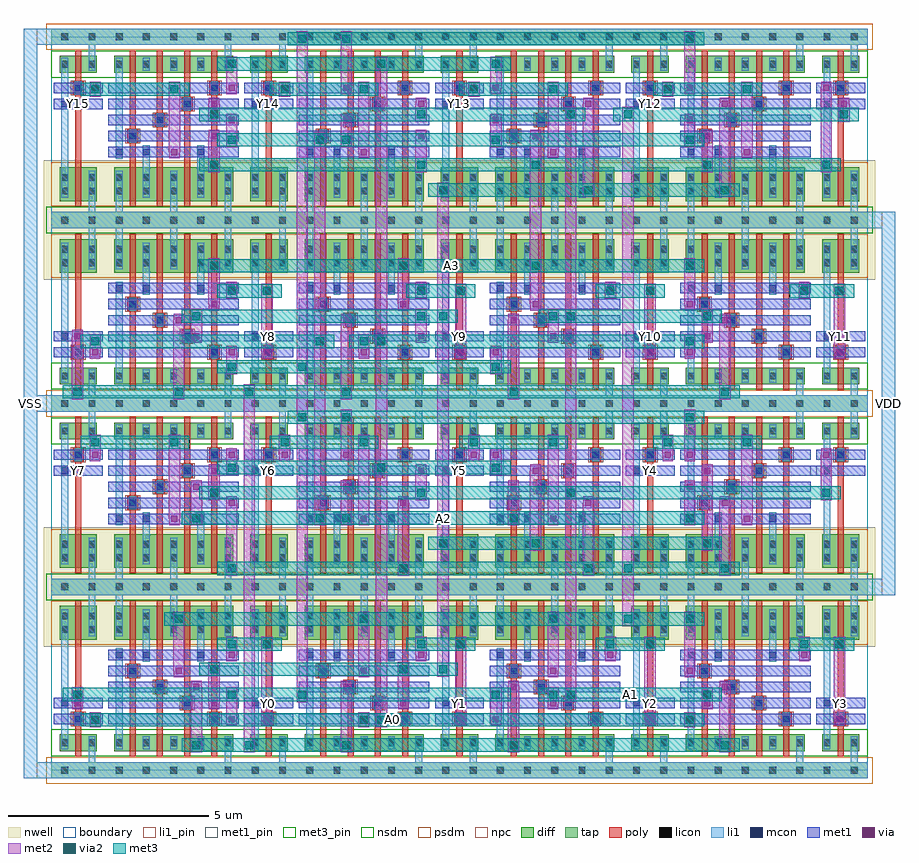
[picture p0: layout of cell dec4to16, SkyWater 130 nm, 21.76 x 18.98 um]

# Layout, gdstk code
import gdstk
lib = gdstk.Library(unit=1e-6, precision=1e-09)
def R(c, l, rs):  # rectangles x0, y0, x1, y1
    for r in rs: c.add(gdstk.rectangle(r[:2], r[2:], *l))
def A(c, l, x, y, w, h, nx, ny, dx, dy):  # array of equal rectangles
    R(c, l, [(x+i*dx, y+j*dy, x+i*dx+w, y+j*dy+h) for i in range(nx) for j in range(ny)])
nwell = (64, 20)
diff = (65, 20)
tap = (65, 44)
poly = (66, 20)
licon = (66, 44)
li1_pin = (67, 16)
li1 = (67, 20)
mcon = (67, 44)
met1_pin = (68, 16)
met1 = (68, 20)
via = (68, 44)
met2 = (69, 20)
via2 = (69, 44)
met3_pin = (70, 16)
met3 = (70, 20)
nsdm = (93, 44)
psdm = (94, 20)
npc = (95, 20)
boundary = (235, 4)

inv = lib.new_cell('inv')
R(inv, nwell, [(-0.18,3.085,1.54,4.965)])
R(inv, diff, [(0.215,0.475,1.145,0.895), (0.215,3.265,1.145,4.105)])
R(inv, tap, [(0,-0.205,1.36,0.205), (0,4.375,1.36,4.785)])
R(inv, poly, [(0.605,0.345,0.755,1.025), (0.605,1.025,0.755,3.135), (0.545,1.115,0.815,1.445), (0.605,3.135,0.755,4.235)])
R(inv, licon, [(0.255,-0.085,0.425,0.085), (0.935,-0.085,1.105,0.085), (0.255,0.6,0.425,0.77), (0.935,0.6,1.105,0.77), (0.595,1.195,0.765,1.365), (0.255,3.43,0.425,3.6), (0.935,3.43,1.105,3.6), (0.255,3.77,0.425,3.94), (0.935,3.77,1.105,3.94), (0.255,4.495,0.425,4.665), (0.935,4.495,1.105,4.665)])
R(inv, li1_pin, [(0,-0.205,1.36,0.205), (0,4.375,1.36,4.785)])
R(inv, li1, [(0,-0.205,1.36,0.205), (0.935,0,1.105,0.52), (0.255,0.52,0.425,0.85), (0.935,0.52,1.105,0.85), (0.255,0.85,0.425,1.68), (0.595,1.115,0.765,1.445), (0.255,1.515,0.425,1.845), (0.255,1.515,0.425,1.845), (0.255,1.68,0.425,3.35), (0.255,3.35,0.425,4.02), (0.935,3.35,1.105,4.02), (0.935,4.02,1.105,4.58), (0,4.375,1.36,4.785)])
R(inv, mcon, [(0.595,1.195,0.765,1.365), (0.255,1.595,0.425,1.765), (0.255,1.595,0.425,1.765)])
R(inv, met1_pin, [(0.07,1.15,1.29,1.41), (0.07,1.55,1.29,1.81)])
R(inv, met1, [(0.07,1.15,1.29,1.41), (0.495,1.165,0.865,1.395), (0.07,1.55,1.29,1.81), (0.155,1.565,0.525,1.795), (0.155,1.565,0.525,1.795)])
R(inv, nsdm, [(0,0.35,1.36,1.02), (-0.125,4.25,1.485,4.91)])
R(inv, psdm, [(-0.125,-0.33,1.485,0.33), (0,3.14,1.36,4.23)])
R(inv, npc, [(0.495,1.095,0.865,1.465)])
R(inv, boundary, [(0,0,1.36,4.58)])
inv.add(gdstk.Label('VSS', (0.68,0), layer=67, texttype=16))
inv.add(gdstk.Label('VDD', (0.68,4.58), layer=67, texttype=16))
inv.add(gdstk.Label('VSS', (0.68,0), layer=67, texttype=5))
inv.add(gdstk.Label('VDD', (0.68,4.58), layer=67, texttype=5))
inv.add(gdstk.Label('Y', (0.68,1.68), layer=68, texttype=16))
inv.add(gdstk.Label('A', (0.68,1.28), layer=68, texttype=16))
inv.add(gdstk.Label('Y', (0.68,1.68), layer=68, texttype=5))
inv.add(gdstk.Label('A', (0.68,1.28), layer=68, texttype=5))

nand4 = lib.new_cell('nand4')
R(nand4, nwell, [(-0.18,3.085,3.58,4.965)])
R(nand4, diff, [(0.215,0.475,3.185,0.895), (0.215,3.265,3.185,4.105)])
R(nand4, tap, [(0,-0.205,3.4,0.205), (0,4.375,3.4,4.785)])
A(nand4, poly, 0.605, 0.345, 0.15, 0.68, 4, 1, 0.68, 0)
A(nand4, poly, 0.605, 1.025, 0.15, 2.11, 4, 1, 0.68, 0)
A(nand4, poly, 0.605, 3.135, 0.15, 1.1, 4, 1, 0.68, 0)
R(nand4, poly, [(2.585,1.115,2.855,1.445), (1.905,1.515,2.175,1.845), (1.225,1.915,1.495,2.245), (0.545,2.315,0.815,2.645)])
A(nand4, licon, 0.255, -0.085, 0.17, 0.17, 5, 2, 0.68, 0.685)
A(nand4, licon, 0.255, 3.43, 0.17, 0.17, 5, 2, 0.68, 0.34)
A(nand4, licon, 0.255, 4.495, 0.17, 0.17, 5, 1, 0.68, 0)
R(nand4, licon, [(2.635,1.195,2.805,1.365), (1.955,1.595,2.125,1.765), (1.275,1.995,1.445,2.165), (0.595,2.395,0.765,2.565)])
R(nand4, li1_pin, [(0,-0.205,3.4,0.205), (0,4.375,3.4,4.785)])
A(nand4, li1, 0.255, 0.52, 0.17, 0.33, 5, 1, 0.68, 0)
A(nand4, li1, 0.255, 3.35, 0.17, 0.67, 5, 1, 0.68, 0)
A(nand4, li1, 0.255, 4.02, 0.17, 0.56, 3, 1, 1.36, 0)
R(nand4, li1, [(0,-0.205,3.4,0.205), (2.975,0,3.145,0.52), (0.255,0.85,0.425,2.88), (2.635,1.115,2.805,1.445), (1.955,1.515,2.125,1.845), (1.275,1.915,1.445,2.245), (0.595,2.315,0.765,2.645), (0.255,2.715,0.425,3.045), (0.935,2.715,1.105,3.045), (2.295,2.715,2.465,3.045), (0.935,2.88,1.105,3.35), (2.295,2.88,2.465,3.35), (0,4.375,3.4,4.785)])
R(nand4, mcon, [(2.635,1.195,2.805,1.365), (1.955,1.595,2.125,1.765), (1.275,1.995,1.445,2.165), (0.595,2.395,0.765,2.565), (0.255,2.795,0.425,2.965), (0.935,2.795,1.105,2.965), (2.295,2.795,2.465,2.965)])
A(nand4, met1_pin, 0.07, 1.15, 3.26, 0.26, 1, 5, 0, 0.4)
A(nand4, met1, 0.07, 1.15, 3.26, 0.26, 1, 5, 0, 0.4)
R(nand4, met1, [(2.535,1.165,2.905,1.395), (1.855,1.565,2.225,1.795), (1.175,1.965,1.545,2.195), (0.495,2.365,0.865,2.595), (0.155,2.765,0.525,2.995), (0.835,2.765,1.205,2.995), (2.195,2.765,2.565,2.995)])
R(nand4, nsdm, [(0,0.35,3.4,1.02), (-0.125,4.25,3.525,4.91)])
R(nand4, psdm, [(-0.125,-0.33,3.525,0.33), (0,3.14,3.4,4.23)])
R(nand4, npc, [(2.535,1.095,2.905,1.465), (1.855,1.495,2.225,1.865), (1.175,1.895,1.545,2.265), (0.495,2.295,0.865,2.665)])
R(nand4, boundary, [(0,0,3.4,4.58)])
nand4.add(gdstk.Label('VSS', (1.7,0), layer=67, texttype=16))
nand4.add(gdstk.Label('VDD', (1.7,4.58), layer=67, texttype=16))
nand4.add(gdstk.Label('VSS', (1.7,0), layer=67, texttype=5))
nand4.add(gdstk.Label('VDD', (1.7,4.58), layer=67, texttype=5))
nand4.add(gdstk.Label('Y', (1.7,2.88), layer=68, texttype=16))
nand4.add(gdstk.Label('D', (1.7,2.48), layer=68, texttype=16))
nand4.add(gdstk.Label('C', (1.7,2.08), layer=68, texttype=16))
nand4.add(gdstk.Label('B', (1.7,1.68), layer=68, texttype=16))
nand4.add(gdstk.Label('A', (1.7,1.28), layer=68, texttype=16))
nand4.add(gdstk.Label('Y', (1.7,2.88), layer=68, texttype=5))
nand4.add(gdstk.Label('D', (1.7,2.48), layer=68, texttype=5))
nand4.add(gdstk.Label('C', (1.7,2.08), layer=68, texttype=5))
nand4.add(gdstk.Label('B', (1.7,1.68), layer=68, texttype=5))
nand4.add(gdstk.Label('A', (1.7,1.28), layer=68, texttype=5))

dec4to16 = lib.new_cell('dec4to16')
R(dec4to16, li1_pin, [(-0.68,-0.205,-0.34,18.525), (20.74,4.375,21.08,13.945)])
A(dec4to16, li1, -0.68, -0.205, 0.68, 0.41, 1, 3, 0, 9.16)
R(dec4to16, li1, [(-0.68,-0.205,-0.34,18.525), (20.4,4.375,21.08,4.785), (20.74,4.375,21.08,13.945), (20.4,13.535,21.08,13.945)])
A(dec4to16, met1_pin, 4.83, 1.55, 1.22, 0.26, 4, 2, 4.76, 9.16)
A(dec4to16, met1_pin, 0.07, 7.35, 1.22, 0.26, 4, 2, 4.76, 9.16)
A(dec4to16, met1, 5.23, 1.15, 0.32, 0.26, 3, 2, 2.42, 9.16)
A(dec4to16, met1, 4.35, 2.75, 0.32, 0.26, 3, 2, 4.73, 9.16)
A(dec4to16, met1, 2.92, 6.15, 0.32, 0.26, 3, 2, 4.73, 9.16)
A(dec4to16, met1, 3.03, 11.11, 0.32, 0.26, 3, 1, 4.18, 0)
R(dec4to16, met1, [(0.94,1.15,1.26,1.41), (4.35,1.15,4.67,1.41), (10.95,1.15,11.27,1.41), (14.8,1.15,15.12,1.41), (15.79,1.15,16.11,1.41), (19.53,1.15,19.85,1.41), (0.5,1.55,0.82,1.81), (3.91,1.55,4.23,1.81), (8.64,1.55,8.96,1.81), (12.38,1.55,12.7,1.81), (16.23,1.55,16.55,1.81), (3.47,1.95,3.79,2.21), (7.21,1.95,7.53,2.21), (11.39,1.95,11.71,2.21), (16.67,1.95,16.99,2.21), (3.03,2.35,3.35,2.61), (7.65,2.35,7.97,2.61), (12.38,2.35,12.7,2.61), (15.79,2.35,16.11,2.61), (18.65,2.75,18.97,3.01), (17.22,6.15,17.54,6.41), (4.35,6.55,4.67,6.81), (8.64,6.55,8.96,6.81), (13.26,6.55,13.58,6.81), (16.67,6.55,16.99,6.81), (3.47,6.95,3.79,7.21), (7.21,6.95,7.53,7.21), (11.39,6.95,11.71,7.21), (15.79,6.95,16.11,7.21), (3.91,7.35,4.23,7.61), (9.08,7.35,9.4,7.61), (11.94,7.35,12.26,7.61), (16.23,7.35,16.55,7.61), (18.97,7.35,19.11,7.61), (0.94,7.75,1.26,8.01), (4.35,7.75,4.67,8.01), (5.67,7.75,5.99,8.01), (7.21,7.75,7.53,8.01), (10.4,7.75,10.72,8.01), (10.95,7.75,11.27,8.01), (15.24,7.75,15.56,8.01), (15.79,7.75,16.11,8.01), (19.2,7.75,19.52,8.01), (0.94,10.31,1.26,10.57), (4.35,10.31,4.67,10.57), (10.95,10.31,11.27,10.57), (14.8,10.31,15.12,10.57), (15.79,10.31,16.11,10.57), (19.53,10.31,19.85,10.57), (0.5,10.71,0.82,10.97), (3.47,10.71,3.79,10.97), (9.08,10.71,9.4,10.97), (12.38,10.71,12.7,10.97), (16.23,10.71,16.55,10.97), (16.67,11.11,16.99,11.37), (3.91,11.51,4.23,11.77), (8.64,11.51,8.96,11.77), (11.94,11.51,12.26,11.77), (15.79,11.51,16.11,11.77), (18.65,11.91,18.97,12.17), (17.22,15.31,17.54,15.57), (3.91,15.71,4.23,15.97), (9.08,15.71,9.4,15.97), (11.94,15.71,12.26,15.97), (16.23,15.71,16.55,15.97), (4.35,16.11,4.67,16.37), (7.21,16.11,7.53,16.37), (10.95,16.11,11.27,16.37), (15.79,16.11,16.11,16.37), (3.91,16.51,4.23,16.77), (9.08,16.51,9.4,16.77), (13.26,16.51,13.58,16.77), (16.67,16.51,16.99,16.77), (19.64,16.51,19.96,16.77), (0.94,16.91,1.26,17.17), (4.35,16.91,4.67,17.17), (5.67,16.91,5.99,17.17), (7.21,16.91,7.53,17.17), (10.4,16.91,10.72,17.17), (10.95,16.91,11.27,17.17), (15.24,16.91,15.56,17.17), (15.79,16.91,16.11,17.17), (19.2,16.91,19.52,17.17)])
A(dec4to16, via, 5.315, 1.205, 0.15, 0.15, 3, 2, 2.42, 9.16)
A(dec4to16, via, 4.435, 2.805, 0.15, 0.15, 3, 2, 4.73, 9.16)
A(dec4to16, via, 3.005, 6.205, 0.15, 0.15, 3, 2, 4.73, 9.16)
A(dec4to16, via, 3.115, 11.165, 0.15, 0.15, 3, 1, 4.18, 0)
R(dec4to16, via, [(1.025,1.205,1.175,1.355), (4.435,1.205,4.585,1.355), (11.035,1.205,11.185,1.355), (14.885,1.205,15.035,1.355), (15.875,1.205,16.025,1.355), (19.615,1.205,19.765,1.355), (0.585,1.605,0.735,1.755), (3.995,1.605,4.145,1.755), (8.725,1.605,8.875,1.755), (12.465,1.605,12.615,1.755), (16.315,1.605,16.465,1.755), (3.555,2.005,3.705,2.155), (7.295,2.005,7.445,2.155), (11.475,2.005,11.625,2.155), (16.755,2.005,16.905,2.155), (3.115,2.405,3.265,2.555), (7.735,2.405,7.885,2.555), (12.465,2.405,12.615,2.555), (15.875,2.405,16.025,2.555), (18.735,2.805,18.885,2.955), (17.305,6.205,17.455,6.355), (4.435,6.605,4.585,6.755), (8.725,6.605,8.875,6.755), (13.345,6.605,13.495,6.755), (16.755,6.605,16.905,6.755), (3.555,7.005,3.705,7.155), (7.295,7.005,7.445,7.155), (11.475,7.005,11.625,7.155), (15.875,7.005,16.025,7.155), (3.995,7.405,4.145,7.555), (9.165,7.405,9.315,7.555), (12.025,7.405,12.175,7.555), (16.315,7.405,16.465,7.555), (1.025,7.805,1.175,7.955), (4.435,7.805,4.585,7.955), (5.755,7.805,5.905,7.955), (7.295,7.805,7.445,7.955), (10.485,7.805,10.635,7.955), (11.035,7.805,11.185,7.955), (15.325,7.805,15.475,7.955), (15.875,7.805,16.025,7.955), (19.285,7.805,19.435,7.955), (1.025,10.365,1.175,10.515), (4.435,10.365,4.585,10.515), (11.035,10.365,11.185,10.515), (14.885,10.365,15.035,10.515), (15.875,10.365,16.025,10.515), (19.615,10.365,19.765,10.515), (0.585,10.765,0.735,10.915), (3.555,10.765,3.705,10.915), (9.165,10.765,9.315,10.915), (12.465,10.765,12.615,10.915), (16.315,10.765,16.465,10.915), (16.755,11.165,16.905,11.315), (3.995,11.565,4.145,11.715), (8.725,11.565,8.875,11.715), (12.025,11.565,12.175,11.715), (15.875,11.565,16.025,11.715), (18.735,11.965,18.885,12.115), (17.305,15.365,17.455,15.515), (3.995,15.765,4.145,15.915), (9.165,15.765,9.315,15.915), (12.025,15.765,12.175,15.915), (16.315,15.765,16.465,15.915), (4.435,16.165,4.585,16.315), (7.295,16.165,7.445,16.315), (11.035,16.165,11.185,16.315), (15.875,16.165,16.025,16.315), (3.995,16.565,4.145,16.715), (9.165,16.565,9.315,16.715), (13.345,16.565,13.495,16.715), (16.755,16.565,16.905,16.715), (19.725,16.565,19.875,16.715), (1.025,16.965,1.175,17.115), (4.435,16.965,4.585,17.115), (5.755,16.965,5.905,17.115), (7.295,16.965,7.445,17.115), (10.485,16.965,10.635,17.115), (11.035,16.965,11.185,17.115), (15.325,16.965,15.475,17.115), (15.875,16.965,16.025,17.115), (19.285,16.965,19.435,17.115)])
A(dec4to16, met2, 16.69, 0.445, 0.28, 0.37, 1, 3, 0, 4.41)
A(dec4to16, met2, 15.81, 1.075, 0.28, 0.37, 1, 4, 0, 2.52)
A(dec4to16, met2, 5.26, 1.12, 0.26, 0.32, 3, 2, 2.42, 9.16)
A(dec4to16, met2, 10.09, 1.28, 0.28, 1.87, 3, 1, 4.73, 0)
A(dec4to16, met2, 4.38, 2.72, 0.26, 0.32, 3, 2, 4.73, 9.16)
A(dec4to16, met2, 4.37, 2.88, 0.28, 0.27, 3, 1, 4.73, 0)
A(dec4to16, met2, 4.37, 4.855, 0.28, 0.37, 1, 3, 0, 2.52)
A(dec4to16, met2, 2.95, 6.12, 0.26, 0.32, 3, 2, 4.73, 9.16)
A(dec4to16, met2, 2.94, 6.28, 0.28, 1.91, 3, 1, 4.73, 0)
A(dec4to16, met2, 0.96, 7.88, 0.28, 0.31, 3, 1, 4.73, 0)
A(dec4to16, met2, 3.05, 9.45, 0.28, 1.79, 3, 1, 4.18, 0)
A(dec4to16, met2, 10.09, 10.44, 0.28, 1.53, 3, 1, 4.73, 0)
A(dec4to16, met2, 3.06, 11.08, 0.26, 0.32, 3, 1, 4.18, 0)
A(dec4to16, met2, 4.37, 11.97, 0.28, 0.07, 3, 1, 4.73, 0)
A(dec4to16, met2, 2.94, 15.44, 0.28, 1.57, 3, 1, 4.73, 0)
A(dec4to16, met2, 0.96, 17.01, 0.28, 0.03, 3, 1, 4.73, 0)
R(dec4to16, met2, [(3.49,0.445,3.77,0.815), (4.81,0.445,5.09,0.815), (7.23,0.445,7.51,0.815), (11.41,0.445,11.69,0.815), (3.49,0.63,3.77,2.08), (4.81,0.63,5.09,9.45), (7.23,0.63,7.51,2.08), (11.41,0.63,11.69,2.08), (16.69,0.63,16.97,2.08), (0.96,1.075,1.24,1.445), (7.67,1.075,7.95,1.445), (8.11,1.075,8.39,1.445), (0.97,1.12,1.23,1.44), (4.38,1.12,4.64,1.44), (10.98,1.12,11.24,1.44), (14.83,1.12,15.09,1.44), (15.82,1.12,16.08,1.44), (19.56,1.12,19.82,1.44), (0.96,1.26,1.24,1.28), (7.67,1.26,7.95,1.28), (8.11,1.26,8.39,17.64), (15.81,1.26,16.09,1.28), (4.37,1.28,4.65,1.89), (5.25,1.28,5.53,3.15), (10.97,1.28,11.25,1.89), (0.53,1.52,0.79,1.84), (3.94,1.52,4.2,1.84), (8.67,1.52,8.93,1.84), (12.41,1.52,12.67,1.84), (16.26,1.52,16.52,1.84), (0.52,1.68,0.8,1.89), (3.93,1.68,4.21,2.52), (8.66,1.68,8.94,2.52), (12.4,1.68,12.68,1.89), (16.25,1.68,16.53,1.89), (0.52,1.705,0.8,2.075), (4.37,1.705,4.65,2.075), (6.13,1.705,6.41,2.075), (10.97,1.705,11.25,2.075), (12.4,1.705,12.68,2.075), (12.84,1.705,13.12,2.075), (16.25,1.705,16.53,2.075), (6.13,1.89,6.41,18.27), (12.84,1.89,13.12,16.38), (3.5,1.92,3.76,2.24), (7.24,1.92,7.5,2.24), (11.42,1.92,11.68,2.24), (16.7,1.92,16.96,2.24), (3.06,2.32,3.32,2.64), (7.68,2.32,7.94,2.64), (12.41,2.32,12.67,2.64), (15.82,2.32,16.08,2.64), (3.93,2.335,4.21,2.705), (8.66,2.335,8.94,2.705), (9.65,2.335,9.93,2.705), (3.05,2.48,3.33,3.78), (7.67,2.48,7.95,3.78), (12.4,2.48,12.68,3.78), (15.81,2.48,16.09,3.78), (9.65,2.52,9.93,14.49), (18.68,2.72,18.94,3.04), (18.67,2.88,18.95,3.15), (4.37,2.965,4.65,3.335), (5.25,2.965,5.53,3.335), (9.1,2.965,9.38,3.335), (10.09,2.965,10.37,3.335), (13.83,2.965,14.11,3.335), (14.82,2.965,15.1,3.335), (18.67,2.965,18.95,3.335), (19.55,2.965,19.83,3.335), (3.05,3.595,3.33,3.965), (7.67,3.595,7.95,3.965), (12.4,3.595,12.68,3.965), (14.27,3.595,14.55,3.965), (14.27,3.78,14.55,16.38), (8.66,4.855,8.94,5.225), (13.28,4.855,13.56,5.225), (14.27,4.855,14.55,5.225), (4.37,5.04,4.65,6.68), (8.66,5.04,8.94,6.68), (13.28,5.04,13.56,6.68), (16.69,5.04,16.97,6.68), (9.65,5.485,9.93,5.855), (11.96,5.485,12.24,5.855), (16.25,5.485,16.53,5.855), (11.96,5.67,12.24,7.48), (16.25,5.67,16.53,7.48), (3.49,6.115,3.77,6.485), (6.57,6.115,6.85,6.485), (7.23,6.115,7.51,6.485), (11.41,6.115,11.69,6.485), (17.25,6.12,17.51,6.44), (17.24,6.28,17.52,8.19), (3.49,6.3,3.77,7.08), (6.57,6.3,6.85,15.75), (7.23,6.3,7.51,7.08), (11.41,6.3,11.69,7.08), (15.81,6.3,16.09,7.08), (4.38,6.52,4.64,6.84), (8.67,6.52,8.93,6.84), (13.29,6.52,13.55,6.84), (16.7,6.52,16.96,6.84), (3.93,6.745,4.21,7.115), (9.1,6.745,9.38,7.115), (12.84,6.745,13.12,7.115), (19.22,6.745,19.5,7.115), (3.5,6.92,3.76,7.24), (7.24,6.92,7.5,7.24), (11.42,6.92,11.68,7.24), (15.82,6.92,16.08,7.24), (3.93,6.93,4.21,7.48), (9.1,6.93,9.38,7.48), (19.22,6.93,19.5,7.88), (3.94,7.32,4.2,7.64), (9.11,7.32,9.37,7.64), (11.97,7.32,12.23,7.64), (16.26,7.32,16.52,7.64), (8.11,7.375,8.39,7.745), (10.97,7.375,11.25,7.745), (4.37,7.56,4.65,7.88), (10.97,7.56,11.25,7.88), (0.97,7.72,1.23,8.04), (4.38,7.72,4.64,8.04), (5.7,7.72,5.96,8.04), (7.24,7.72,7.5,8.04), (10.43,7.72,10.69,8.04), (10.98,7.72,11.24,8.04), (15.27,7.72,15.53,8.04), (15.82,7.72,16.08,8.04), (19.23,7.72,19.49,8.04), (7.23,7.88,7.51,8.82), (15.26,7.88,15.54,8.19), (15.81,7.88,16.09,8.82), (0.96,8.005,1.24,8.375), (2.94,8.005,3.22,8.375), (5.69,8.005,5.97,8.375), (7.67,8.005,7.95,8.375), (10.42,8.005,10.7,8.375), (12.4,8.005,12.68,8.375), (15.26,8.005,15.54,8.375), (17.24,8.005,17.52,8.375), (6.13,8.635,6.41,9.005), (7.23,8.635,7.51,9.005), (0.52,9.265,0.8,9.635), (3.05,9.265,3.33,9.635), (4.81,9.265,5.09,9.635), (7.23,9.265,7.51,9.635), (11.41,9.265,11.69,9.635), (0.52,9.45,0.8,10.84), (16.69,9.45,16.97,11.24), (6.13,9.895,6.41,10.265), (10.97,9.895,11.25,10.265), (4.37,10.08,4.65,10.44), (10.97,10.08,11.25,10.44), (0.97,10.28,1.23,10.6), (4.38,10.28,4.64,10.6), (10.98,10.28,11.24,10.6), (14.83,10.28,15.09,10.6), (15.82,10.28,16.08,10.6), (19.56,10.28,19.82,10.6), (0.96,10.44,1.24,10.71), (5.25,10.44,5.53,11.97), (7.67,10.44,7.95,10.71), (15.81,10.44,16.09,10.71), (0.96,10.525,1.24,10.895), (6.57,10.525,6.85,10.895), (7.67,10.525,7.95,10.895), (8.11,10.525,8.39,10.895), (15.81,10.525,16.09,10.895), (0.53,10.68,0.79,11), (3.5,10.68,3.76,11), (9.11,10.68,9.37,11), (12.41,10.68,12.67,11), (16.26,10.68,16.52,11), (3.49,10.84,3.77,11.34), (9.1,10.84,9.38,11.34), (12.4,10.84,12.68,11.34), (16.25,10.84,16.53,11.34), (16.7,11.08,16.96,11.4), (3.49,11.155,3.77,11.525), (9.1,11.155,9.38,11.525), (9.65,11.155,9.93,11.525), (12.4,11.155,12.68,11.525), (12.84,11.155,13.12,11.525), (16.25,11.155,16.53,11.525), (3.94,11.48,4.2,11.8), (8.67,11.48,8.93,11.8), (11.97,11.48,12.23,11.8), (15.82,11.48,16.08,11.8), (3.93,11.64,4.21,12.6), (8.66,11.64,8.94,12.6), (11.96,11.64,12.24,12.6), (15.81,11.64,16.09,12.6), (4.37,11.785,4.65,12.155), (5.25,11.785,5.53,12.155), (9.1,11.785,9.38,12.155), (10.09,11.785,10.37,12.155), (13.83,11.785,14.11,12.155), (14.82,11.785,15.1,12.155), (18.67,11.785,18.95,12.155), (19.55,11.785,19.83,12.155), (18.68,11.88,18.94,12.2), (18.67,11.97,18.95,12.04), (3.93,12.415,4.21,12.785), (8.66,12.415,8.94,12.785), (11.96,12.415,12.24,12.785), (11.96,12.415,12.24,12.785), (15.81,12.415,16.09,12.785), (11.96,12.6,12.24,15.12), (9.65,14.305,9.93,14.675), (13.28,14.305,13.56,14.675), (16.69,14.305,16.97,14.675), (13.28,14.49,13.56,16.64), (16.69,14.49,16.97,16.64), (3.93,14.935,4.21,15.305), (9.1,14.935,9.38,15.305), (11.96,14.935,12.24,15.305), (11.96,14.935,12.24,15.305), (16.25,14.935,16.53,15.305), (19.22,14.935,19.5,15.305), (3.93,15.12,4.21,15.84), (9.1,15.12,9.38,15.84), (11.96,15.12,12.24,15.84), (16.25,15.12,16.53,15.84), (19.22,15.12,19.5,17.04), (17.25,15.28,17.51,15.6), (17.24,15.44,17.52,17.01), (4.37,15.565,4.65,15.935), (6.57,15.565,6.85,15.935), (7.23,15.565,7.51,15.935), (10.97,15.565,11.25,15.935), (15.81,15.565,16.09,15.935), (3.94,15.68,4.2,16), (9.11,15.68,9.37,16), (11.97,15.68,12.23,16), (16.26,15.68,16.52,16), (4.37,15.75,4.65,16.24), (7.23,15.75,7.51,16.24), (10.97,15.75,11.25,16.24), (15.81,15.75,16.09,16.24), (4.38,16.08,4.64,16.4), (7.24,16.08,7.5,16.4), (10.98,16.08,11.24,16.4), (15.82,16.08,16.08,16.4), (3.93,16.195,4.21,16.565), (9.1,16.195,9.38,16.565), (12.84,16.195,13.12,16.565), (14.27,16.195,14.55,16.565), (19.66,16.195,19.94,16.565), (3.93,16.38,4.21,16.64), (9.1,16.38,9.38,16.64), (19.66,16.38,19.94,16.64), (3.94,16.48,4.2,16.8), (9.11,16.48,9.37,16.8), (13.29,16.48,13.55,16.8), (16.7,16.48,16.96,16.8), (19.67,16.48,19.93,16.8), (0.96,16.825,1.24,17.195), (2.94,16.825,3.22,17.195), (5.69,16.825,5.97,17.195), (7.67,16.825,7.95,17.195), (10.42,16.825,10.7,17.195), (12.4,16.825,12.68,17.195), (15.26,16.825,15.54,17.195), (17.24,16.825,17.52,17.195), (0.97,16.88,1.23,17.2), (4.38,16.88,4.64,17.2), (5.7,16.88,5.96,17.2), (7.24,16.88,7.5,17.2), (10.43,16.88,10.69,17.2), (10.98,16.88,11.24,17.2), (15.27,16.88,15.53,17.2), (15.82,16.88,16.08,17.2), (19.23,16.88,19.49,17.2), (15.26,17.01,15.54,17.04), (4.37,17.04,4.65,17.64), (7.23,17.04,7.51,18.27), (10.97,17.04,11.25,17.64), (15.81,17.04,16.09,18.27), (4.37,17.455,4.65,17.825), (8.11,17.455,8.39,17.825), (10.97,17.455,11.25,17.825), (6.13,18.085,6.41,18.455), (7.23,18.085,7.51,18.455), (15.81,18.085,16.09,18.455)])
A(dec4to16, via2, 16.73, 0.53, 0.2, 0.2, 1, 3, 0, 4.41)
A(dec4to16, via2, 15.85, 1.16, 0.2, 0.2, 1, 4, 0, 2.52)
A(dec4to16, via2, 4.41, 4.94, 0.2, 0.2, 1, 3, 0, 2.52)
R(dec4to16, via2, [(3.53,0.53,3.73,0.73), (4.85,0.53,5.05,0.73), (7.27,0.53,7.47,0.73), (11.45,0.53,11.65,0.73), (1,1.16,1.2,1.36), (7.71,1.16,7.91,1.36), (8.15,1.16,8.35,1.36), (0.56,1.79,0.76,1.99), (4.41,1.79,4.61,1.99), (6.17,1.79,6.37,1.99), (11.01,1.79,11.21,1.99), (12.44,1.79,12.64,1.99), (12.88,1.79,13.08,1.99), (16.29,1.79,16.49,1.99), (3.97,2.42,4.17,2.62), (8.7,2.42,8.9,2.62), (9.69,2.42,9.89,2.62), (4.41,3.05,4.61,3.25), (5.29,3.05,5.49,3.25), (9.14,3.05,9.34,3.25), (10.13,3.05,10.33,3.25), (13.87,3.05,14.07,3.25), (14.86,3.05,15.06,3.25), (18.71,3.05,18.91,3.25), (19.59,3.05,19.79,3.25), (3.09,3.68,3.29,3.88), (7.71,3.68,7.91,3.88), (12.44,3.68,12.64,3.88), (14.31,3.68,14.51,3.88), (8.7,4.94,8.9,5.14), (13.32,4.94,13.52,5.14), (14.31,4.94,14.51,5.14), (9.69,5.57,9.89,5.77), (12,5.57,12.2,5.77), (16.29,5.57,16.49,5.77), (3.53,6.2,3.73,6.4), (6.61,6.2,6.81,6.4), (7.27,6.2,7.47,6.4), (11.45,6.2,11.65,6.4), (3.97,6.83,4.17,7.03), (9.14,6.83,9.34,7.03), (12.88,6.83,13.08,7.03), (19.26,6.83,19.46,7.03), (8.15,7.46,8.35,7.66), (11.01,7.46,11.21,7.66), (1,8.09,1.2,8.29), (2.98,8.09,3.18,8.29), (5.73,8.09,5.93,8.29), (7.71,8.09,7.91,8.29), (10.46,8.09,10.66,8.29), (12.44,8.09,12.64,8.29), (15.3,8.09,15.5,8.29), (17.28,8.09,17.48,8.29), (6.17,8.72,6.37,8.92), (7.27,8.72,7.47,8.92), (0.56,9.35,0.76,9.55), (3.09,9.35,3.29,9.55), (4.85,9.35,5.05,9.55), (7.27,9.35,7.47,9.55), (11.45,9.35,11.65,9.55), (6.17,9.98,6.37,10.18), (11.01,9.98,11.21,10.18), (1,10.61,1.2,10.81), (6.61,10.61,6.81,10.81), (7.71,10.61,7.91,10.81), (8.15,10.61,8.35,10.81), (15.85,10.61,16.05,10.81), (3.53,11.24,3.73,11.44), (9.14,11.24,9.34,11.44), (9.69,11.24,9.89,11.44), (12.44,11.24,12.64,11.44), (12.88,11.24,13.08,11.44), (16.29,11.24,16.49,11.44), (4.41,11.87,4.61,12.07), (5.29,11.87,5.49,12.07), (9.14,11.87,9.34,12.07), (10.13,11.87,10.33,12.07), (13.87,11.87,14.07,12.07), (14.86,11.87,15.06,12.07), (18.71,11.87,18.91,12.07), (19.59,11.87,19.79,12.07), (3.97,12.5,4.17,12.7), (8.7,12.5,8.9,12.7), (12,12.5,12.2,12.7), (12,12.5,12.2,12.7), (15.85,12.5,16.05,12.7), (9.69,14.39,9.89,14.59), (13.32,14.39,13.52,14.59), (16.73,14.39,16.93,14.59), (3.97,15.02,4.17,15.22), (9.14,15.02,9.34,15.22), (12,15.02,12.2,15.22), (12,15.02,12.2,15.22), (16.29,15.02,16.49,15.22), (19.26,15.02,19.46,15.22), (4.41,15.65,4.61,15.85), (6.61,15.65,6.81,15.85), (7.27,15.65,7.47,15.85), (11.01,15.65,11.21,15.85), (15.85,15.65,16.05,15.85), (3.97,16.28,4.17,16.48), (9.14,16.28,9.34,16.48), (12.88,16.28,13.08,16.48), (14.31,16.28,14.51,16.48), (19.7,16.28,19.9,16.48), (1,16.91,1.2,17.11), (2.98,16.91,3.18,17.11), (5.73,16.91,5.93,17.11), (7.71,16.91,7.91,17.11), (10.46,16.91,10.66,17.11), (12.44,16.91,12.64,17.11), (15.3,16.91,15.5,17.11), (17.28,16.91,17.48,17.11), (4.41,17.54,4.61,17.74), (8.15,17.54,8.35,17.74), (11.01,17.54,11.21,17.74), (6.17,18.17,6.37,18.37), (7.27,18.17,7.47,18.37), (15.85,18.17,16.05,18.37)])
R(dec4to16, met3_pin, [(1.1,1.095,15.95,1.425), (12.54,1.725,16.39,2.055), (3.63,6.135,15.95,6.465), (4.07,12.435,15.95,12.765)])
A(dec4to16, met3, 16.465, 0.465, 0.73, 0.33, 1, 3, 0, 4.41)
A(dec4to16, met3, 15.585, 1.095, 0.73, 0.33, 1, 4, 0, 2.52)
A(dec4to16, met3, 4.145, 4.875, 0.73, 0.33, 1, 3, 0, 2.52)
A(dec4to16, met3, 1.1, 8.025, 1.98, 0.33, 3, 2, 4.73, 8.82)
R(dec4to16, met3, [(3.265,0.465,3.995,0.795), (3.63,0.465,16.83,0.795), (4.585,0.465,5.315,0.795), (7.005,0.465,7.735,0.795), (11.185,0.465,11.915,0.795), (0.735,1.095,1.465,1.425), (1.1,1.095,15.95,1.425), (7.445,1.095,8.175,1.425), (7.885,1.095,8.615,1.425), (0.295,1.725,1.025,2.055), (0.66,1.725,11.11,2.055), (4.145,1.725,4.875,2.055), (5.905,1.725,6.635,2.055), (10.745,1.725,11.475,2.055), (12.175,1.725,12.905,2.055), (12.54,1.725,16.39,2.055), (12.615,1.725,13.345,2.055), (16.025,1.725,16.755,2.055), (3.705,2.355,4.435,2.685), (4.07,2.355,9.79,2.685), (8.435,2.355,9.165,2.685), (9.425,2.355,10.155,2.685), (4.145,2.985,4.875,3.315), (4.51,2.985,5.39,3.315), (5.025,2.985,5.755,3.315), (8.875,2.985,9.605,3.315), (9.24,2.985,10.23,3.315), (9.865,2.985,10.595,3.315), (13.605,2.985,14.335,3.315), (13.97,2.985,14.96,3.315), (14.595,2.985,15.325,3.315), (18.445,2.985,19.175,3.315), (18.81,2.985,19.69,3.315), (19.325,2.985,20.055,3.315), (2.825,3.615,3.555,3.945), (3.19,3.615,15.95,3.945), (7.445,3.615,8.175,3.945), (12.175,3.615,12.905,3.945), (14.045,3.615,14.775,3.945), (4.51,4.875,16.83,5.205), (8.435,4.875,9.165,5.205), (13.055,4.875,13.785,5.205), (14.045,4.875,14.775,5.205), (9.425,5.505,10.155,5.835), (9.79,5.505,16.39,5.835), (11.735,5.505,12.465,5.835), (16.025,5.505,16.755,5.835), (3.265,6.135,3.995,6.465), (3.63,6.135,15.95,6.465), (6.345,6.135,7.075,6.465), (7.005,6.135,7.735,6.465), (11.185,6.135,11.915,6.465), (3.705,6.765,4.435,7.095), (4.07,6.765,19.36,7.095), (8.875,6.765,9.605,7.095), (12.615,6.765,13.345,7.095), (18.995,6.765,19.725,7.095), (4.51,7.395,11.11,7.725), (7.885,7.395,8.615,7.725), (10.745,7.395,11.475,7.725), (0.735,8.025,1.465,8.355), (2.715,8.025,3.445,8.355), (5.465,8.025,6.195,8.355), (7.445,8.025,8.175,8.355), (10.195,8.025,10.925,8.355), (12.175,8.025,12.905,8.355), (15.035,8.025,15.765,8.355), (15.4,8.025,17.38,8.355), (17.015,8.025,17.745,8.355), (5.905,8.655,6.635,8.985), (6.27,8.655,15.95,8.985), (7.005,8.655,7.735,8.985), (0.295,9.285,1.025,9.615), (0.66,9.285,16.83,9.615), (2.825,9.285,3.555,9.615), (4.585,9.285,5.315,9.615), (7.005,9.285,7.735,9.615), (11.185,9.285,11.915,9.615), (4.51,9.915,11.11,10.245), (5.905,9.915,6.635,10.245), (10.745,9.915,11.475,10.245), (0.735,10.545,1.465,10.875), (1.1,10.545,6.71,10.875), (6.345,10.545,7.075,10.875), (7.445,10.545,8.175,10.875), (7.81,10.545,15.95,10.875), (7.885,10.545,8.615,10.875), (15.585,10.545,16.315,10.875), (3.265,11.175,3.995,11.505), (3.63,11.175,9.79,11.505), (8.875,11.175,9.605,11.505), (9.425,11.175,10.155,11.505), (12.175,11.175,12.905,11.505), (12.54,11.175,16.39,11.505), (12.615,11.175,13.345,11.505), (16.025,11.175,16.755,11.505), (4.145,11.805,4.875,12.135), (4.51,11.805,5.39,12.135), (5.025,11.805,5.755,12.135), (8.875,11.805,9.605,12.135), (9.24,11.805,10.23,12.135), (9.865,11.805,10.595,12.135), (13.605,11.805,14.335,12.135), (13.97,11.805,14.96,12.135), (14.595,11.805,15.325,12.135), (18.445,11.805,19.175,12.135), (18.81,11.805,19.69,12.135), (19.325,11.805,20.055,12.135), (3.705,12.435,4.435,12.765), (4.07,12.435,15.95,12.765), (8.435,12.435,9.165,12.765), (11.735,12.435,12.465,12.765), (11.735,12.435,12.465,12.765), (15.585,12.435,16.315,12.765), (9.425,14.325,10.155,14.655), (9.79,14.325,16.83,14.655), (13.055,14.325,13.785,14.655), (16.465,14.325,17.195,14.655), (3.705,14.955,4.435,15.285), (4.07,14.955,19.36,15.285), (8.875,14.955,9.605,15.285), (11.735,14.955,12.465,15.285), (11.735,14.955,12.465,15.285), (16.025,14.955,16.755,15.285), (18.995,14.955,19.725,15.285), (4.145,15.585,4.875,15.915), (4.51,15.585,15.95,15.915), (6.345,15.585,7.075,15.915), (7.005,15.585,7.735,15.915), (10.745,15.585,11.475,15.915), (15.585,15.585,16.315,15.915), (3.705,16.215,4.435,16.545), (4.07,16.215,12.98,16.545), (8.875,16.215,9.605,16.545), (12.615,16.215,13.345,16.545), (14.045,16.215,14.775,16.545), (14.41,16.215,19.8,16.545), (19.435,16.215,20.165,16.545), (0.735,16.845,1.465,17.175), (2.715,16.845,3.445,17.175), (5.465,16.845,6.195,17.175), (7.445,16.845,8.175,17.175), (10.195,16.845,10.925,17.175), (12.175,16.845,12.905,17.175), (15.035,16.845,15.765,17.175), (15.4,16.845,17.38,17.175), (17.015,16.845,17.745,17.175), (4.145,17.475,4.875,17.805), (4.51,17.475,11.11,17.805), (7.885,17.475,8.615,17.805), (10.745,17.475,11.475,17.805), (5.905,18.105,6.635,18.435), (6.27,18.105,15.95,18.435), (7.005,18.105,7.735,18.435), (15.585,18.105,16.315,18.435)])
dec4to16.add(gdstk.Reference(inv, (0,0)))
dec4to16.add(gdstk.Reference(nand4, (1.36,0)))
dec4to16.add(gdstk.Reference(inv, (4.76,0)))
dec4to16.add(gdstk.Reference(nand4, (6.12,0)))
dec4to16.add(gdstk.Reference(inv, (9.52,0)))
dec4to16.add(gdstk.Reference(nand4, (10.88,0)))
dec4to16.add(gdstk.Reference(inv, (14.28,0)))
dec4to16.add(gdstk.Reference(nand4, (15.64,0)))
dec4to16.add(gdstk.Reference(inv, (19.04,0)))
dec4to16.add(gdstk.Reference(inv, (0,9.16), x_reflection=True))
dec4to16.add(gdstk.Reference(nand4, (1.36,9.16), x_reflection=True))
dec4to16.add(gdstk.Reference(inv, (4.76,9.16), x_reflection=True))
dec4to16.add(gdstk.Reference(nand4, (6.12,9.16), x_reflection=True))
dec4to16.add(gdstk.Reference(inv, (9.52,9.16), x_reflection=True))
dec4to16.add(gdstk.Reference(nand4, (10.88,9.16), x_reflection=True))
dec4to16.add(gdstk.Reference(inv, (14.28,9.16), x_reflection=True))
dec4to16.add(gdstk.Reference(nand4, (15.64,9.16), x_reflection=True))
dec4to16.add(gdstk.Reference(inv, (19.04,9.16), x_reflection=True))
dec4to16.add(gdstk.Reference(inv, (0,9.16)))
dec4to16.add(gdstk.Reference(nand4, (1.36,9.16)))
dec4to16.add(gdstk.Reference(inv, (4.76,9.16)))
dec4to16.add(gdstk.Reference(nand4, (6.12,9.16)))
dec4to16.add(gdstk.Reference(inv, (9.52,9.16)))
dec4to16.add(gdstk.Reference(nand4, (10.88,9.16)))
dec4to16.add(gdstk.Reference(inv, (14.28,9.16)))
dec4to16.add(gdstk.Reference(nand4, (15.64,9.16)))
dec4to16.add(gdstk.Reference(inv, (19.04,9.16)))
dec4to16.add(gdstk.Reference(inv, (0,18.32), x_reflection=True))
dec4to16.add(gdstk.Reference(nand4, (1.36,18.32), x_reflection=True))
dec4to16.add(gdstk.Reference(inv, (4.76,18.32), x_reflection=True))
dec4to16.add(gdstk.Reference(nand4, (6.12,18.32), x_reflection=True))
dec4to16.add(gdstk.Reference(inv, (9.52,18.32), x_reflection=True))
dec4to16.add(gdstk.Reference(nand4, (10.88,18.32), x_reflection=True))
dec4to16.add(gdstk.Reference(inv, (14.28,18.32), x_reflection=True))
dec4to16.add(gdstk.Reference(nand4, (15.64,18.32), x_reflection=True))
dec4to16.add(gdstk.Reference(inv, (19.04,18.32), x_reflection=True))
dec4to16.add(gdstk.Label('VSS', (-0.51,9.16), layer=67, texttype=16))
dec4to16.add(gdstk.Label('VDD', (20.91,9.16), layer=67, texttype=16))
dec4to16.add(gdstk.Label('VSS', (-0.51,9.16), layer=67, texttype=5))
dec4to16.add(gdstk.Label('VDD', (20.91,9.16), layer=67, texttype=5))
dec4to16.add(gdstk.Label('Y0', (5.44,1.68), layer=68, texttype=16))
dec4to16.add(gdstk.Label('Y1', (10.2,1.68), layer=68, texttype=16))
dec4to16.add(gdstk.Label('Y10', (14.96,10.84), layer=68, texttype=16))
dec4to16.add(gdstk.Label('Y11', (19.72,10.84), layer=68, texttype=16))
dec4to16.add(gdstk.Label('Y12', (14.96,16.64), layer=68, texttype=16))
dec4to16.add(gdstk.Label('Y13', (10.2,16.64), layer=68, texttype=16))
dec4to16.add(gdstk.Label('Y14', (5.44,16.64), layer=68, texttype=16))
dec4to16.add(gdstk.Label('Y15', (0.68,16.64), layer=68, texttype=16))
dec4to16.add(gdstk.Label('Y2', (14.96,1.68), layer=68, texttype=16))
dec4to16.add(gdstk.Label('Y3', (19.72,1.68), layer=68, texttype=16))
dec4to16.add(gdstk.Label('Y4', (14.96,7.48), layer=68, texttype=16))
dec4to16.add(gdstk.Label('Y5', (10.2,7.48), layer=68, texttype=16))
dec4to16.add(gdstk.Label('Y6', (5.44,7.48), layer=68, texttype=16))
dec4to16.add(gdstk.Label('Y7', (0.68,7.48), layer=68, texttype=16))
dec4to16.add(gdstk.Label('Y8', (5.44,10.84), layer=68, texttype=16))
dec4to16.add(gdstk.Label('Y9', (10.2,10.84), layer=68, texttype=16))
dec4to16.add(gdstk.Label('Y0', (5.44,1.68), layer=68, texttype=5))
dec4to16.add(gdstk.Label('Y1', (10.2,1.68), layer=68, texttype=5))
dec4to16.add(gdstk.Label('Y10', (14.96,10.84), layer=68, texttype=5))
dec4to16.add(gdstk.Label('Y11', (19.72,10.84), layer=68, texttype=5))
dec4to16.add(gdstk.Label('Y12', (14.96,16.64), layer=68, texttype=5))
dec4to16.add(gdstk.Label('Y13', (10.2,16.64), layer=68, texttype=5))
dec4to16.add(gdstk.Label('Y14', (5.44,16.64), layer=68, texttype=5))
dec4to16.add(gdstk.Label('Y15', (0.68,16.64), layer=68, texttype=5))
dec4to16.add(gdstk.Label('Y2', (14.96,1.68), layer=68, texttype=5))
dec4to16.add(gdstk.Label('Y3', (19.72,1.68), layer=68, texttype=5))
dec4to16.add(gdstk.Label('Y4', (14.96,7.48), layer=68, texttype=5))
dec4to16.add(gdstk.Label('Y5', (10.2,7.48), layer=68, texttype=5))
dec4to16.add(gdstk.Label('Y6', (5.44,7.48), layer=68, texttype=5))
dec4to16.add(gdstk.Label('Y7', (0.68,7.48), layer=68, texttype=5))
dec4to16.add(gdstk.Label('Y8', (5.44,10.84), layer=68, texttype=5))
dec4to16.add(gdstk.Label('Y9', (10.2,10.84), layer=68, texttype=5))
dec4to16.add(gdstk.Label('A0', (8.525,1.26), layer=70, texttype=16))
dec4to16.add(gdstk.Label('A1', (14.465,1.89), layer=70, texttype=16))
dec4to16.add(gdstk.Label('A2', (9.79,6.3), layer=70, texttype=16))
dec4to16.add(gdstk.Label('A3', (10.01,12.6), layer=70, texttype=16))
dec4to16.add(gdstk.Label('A0', (8.525,1.26), layer=70, texttype=5))
dec4to16.add(gdstk.Label('A1', (14.465,1.89), layer=70, texttype=5))
dec4to16.add(gdstk.Label('A2', (9.79,6.3), layer=70, texttype=5))
dec4to16.add(gdstk.Label('A3', (10.01,12.6), layer=70, texttype=5))

lib.write_gds('dec4to16.gds')
